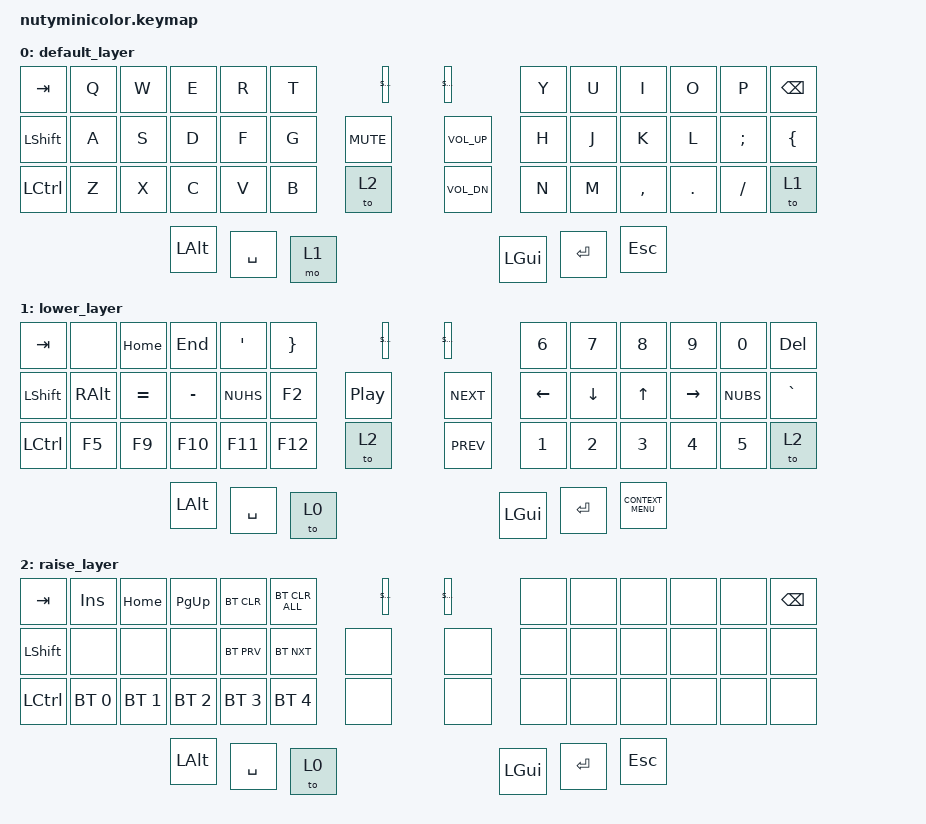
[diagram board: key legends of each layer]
/*
 * Copyright (c) 2020 The ZMK Contributors
 *
 * SPDX-License-Identifier: MIT
 */

#include <behaviors.dtsi>
#include <dt-bindings/zmk/keys.h>
#include <dt-bindings/zmk/bt.h>

/ {
        keymap {
                compatible = "zmk,keymap";

                default_layer {
                        bindings = <
   &kp TAB   &kp Q &kp W &kp E &kp R &kp T   &kp Y &kp U  &kp I     &kp O   &kp P    &kp BSPC
   &kp LSHIFT &kp A &kp S &kp D &kp F &kp G   &kp H &kp J  &kp K     &kp L   &kp SEMI &kp LBRC
   &kp LCTRL &kp Z &kp X &kp C &kp V &kp B   &kp N &kp M  &kp COMMA &kp DOT &kp FSLH &to 1
   &kp LALT &kp SPACE &mo 1  &to 2 &kp C_MUTE &studio_unlock   &studio_unlock &kp C_VOL_UP &kp C_VOL_DN &kp LGUI &kp ENTER &kp ESC
                        >;
                };

                lower_layer {
                        bindings = <
   &kp TAB    &none      &kp HOME       &kp END       &kp APOS    &kp RBRC        &kp N6          &kp N7       &kp N8       &kp N9    &kp N0    &kp DEL
   &kp LSHIFT &kp RALT   &kp EQUAL      &kp MINUS     &kp NUHS    &kp F2          &kp LEFT        &kp DOWN     &kp UP       &kp RIGHT &kp NUBS  &kp GRAVE
   &kp LCTRL  &kp F5     &kp F9         &kp F10       &kp F11     &kp F12         &kp N1          &kp N2       &kp N3       &kp N4    &kp N5    &to 2
   &kp LALT   &kp SPACE  &to 0          &to 2         &kp C_PP    &studio_unlock  &studio_unlock  &kp C_NEXT   &kp C_PREV   &kp LGUI  &kp ENTER &kp K_CONTEXT_MENU
                        >;
                };

                raise_layer {
                        bindings = <
   &kp TAB      &kp INSERT     &kp HOME      &kp PG_UP     &bt BT_CLR     &bt BT_CLR_ALL           &none            &none       &none     &none         &none        &kp BSPC
   &kp LSHIFT   &none          &none         &none         &bt BT_PRV     &bt BT_NXT               &none            &none       &none     &none         &none        &none
   &kp LCTRL    &bt BT_SEL 0   &bt BT_SEL 1  &bt BT_SEL 2  &bt BT_SEL 3   &bt BT_SEL 4             &none            &none       &none     &none         &none        &none
   &kp LALT     &kp SPACE      &to 0         &none         &none          &studio_unlock           &studio_unlock   &none       &none     &kp LGUI      &kp ENTER    &kp ESC
                        >;
                };
        };
};
